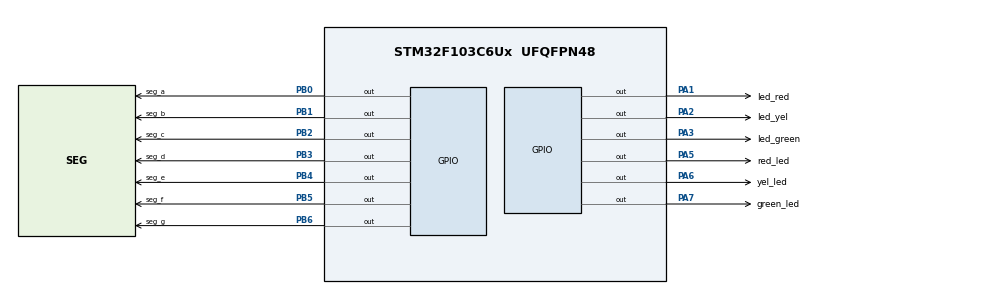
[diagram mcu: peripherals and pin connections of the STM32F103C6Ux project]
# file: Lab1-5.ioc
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Mcu.Family=STM32F1
Mcu.Name=STM32F103C6Ux
Mcu.Package=UFQFPN48
NVIC.PriorityGroup=NVIC_PRIORITYGROUP_4
PA1.GPIO_Label=led_red
PA1.Signal=GPIO_Output
PA2.GPIO_Label=led_yel
PA2.Signal=GPIO_Output
PA3.GPIO_Label=led_green
PA3.Signal=GPIO_Output
PA5.GPIO_Label=red_led
PA5.Signal=GPIO_Output
PA6.GPIO_Label=yel_led
PA6.Signal=GPIO_Output
PA7.GPIO_Label=green_led
PA7.Signal=GPIO_Output
PB0.GPIO_Label=seg_a
PB0.Signal=GPIO_Output
PB1.GPIO_Label=seg_b
PB1.Signal=GPIO_Output
PB2.GPIO_Label=seg_c
PB2.Signal=GPIO_Output
PB3.GPIO_Label=seg_d
PB3.Signal=GPIO_Output
PB4.GPIO_Label=seg_e
PB4.Signal=GPIO_Output
PB5.GPIO_Label=seg_f
PB5.Signal=GPIO_Output
PB6.GPIO_Label=seg_g
PB6.Signal=GPIO_Output
ProjectManager.HeapSize=0x200
ProjectManager.StackSize=0x400
ProjectManager.TargetToolchain=STM32CubeIDE
RCC.APB1Freq_Value=8000000
RCC.APB2Freq_Value=8000000
VP_SYS_VS_ND.Mode=No_Debug
board=custom

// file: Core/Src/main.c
/* USER CODE BEGIN Header */
/**
  ******************************************************************************
  * @file           : main.c
  * @brief          : Main program body
  ******************************************************************************
  * @attention
  *
  * <h2><center>&copy; Copyright (c) 2025 STMicroelectronics.
  * All rights reserved.</center></h2>
  *
  * This software component is licensed by ST under BSD 3-Clause license,
  * the "License"; You may not use this file except in compliance with the
  * License. You may obtain a copy of the License at:
  *                        opensource.org/licenses/BSD-3-Clause
  *
  ******************************************************************************
  */
/* USER CODE END Header */
#include "main.h"
#include "gpio.h"

/* USER CODE BEGIN PV */
int arr[10][7] = {
    {0, 0, 0, 0, 0, 0, 1}, //0
    {1, 0, 0, 1, 1, 1, 1}, //1
    {0, 0, 1, 0, 0, 1, 0}, //2
    {0, 0, 0, 0, 1, 1, 0}, //3
    {1, 0, 0, 1, 1, 0, 0}, //4
    {0, 1, 0, 0, 1, 0, 0}, //5
    {0, 1, 0, 0, 0, 0, 0}, //6
    {0, 0, 0, 1, 1, 1, 1}, //7
    {0, 0, 0, 0, 0, 0, 0}, //8
    {0, 0, 0, 0, 1, 0, 0}  //9
};
//	 a, b, c, d, e, f, g

int current_countdown = 0;
uint32_t last_update_time = 0;
/* USER CODE END PV */

void SystemClock_Config(void);
/* USER CODE BEGIN PFP */
void display7SEG(int num);
void updateCountdown(int duration);
/* USER CODE END PFP */

int main(void)
{

  /* MCU Configuration--------------------------------------------------------*/

  /* Reset of all peripherals, Initializes the Flash interface and the Systick. */
  HAL_Init();

  /* Configure the system clock */
  SystemClock_Config();

  /* Initialize all configured peripherals */
  MX_GPIO_Init();

  /* Infinite loop */
  /* USER CODE BEGIN WHILE */
  while (1)
  {
    /* Phase 1: Road2 Green (5s), Road1 Red (5s) */
    HAL_GPIO_WritePin(GPIOA, GPIO_PIN_5, GPIO_PIN_SET);   // RED2 ON
    HAL_GPIO_WritePin(GPIOA, GPIO_PIN_6, GPIO_PIN_RESET); // YELLOW2 OFF
    HAL_GPIO_WritePin(GPIOA, GPIO_PIN_7, GPIO_PIN_RESET); // GREEN2 OFF

    HAL_GPIO_WritePin(GPIOA, GPIO_PIN_1, GPIO_PIN_RESET); // RED1 OFF
    HAL_GPIO_WritePin(GPIOA, GPIO_PIN_2, GPIO_PIN_RESET); // YELLOW1 OFF
    HAL_GPIO_WritePin(GPIOA, GPIO_PIN_3, GPIO_PIN_SET);   // GREEN1 ON

    updateCountdown(5);
    HAL_Delay(5000);

    /* Phase 2: Both Yellow (2s) */
    HAL_GPIO_WritePin(GPIOA, GPIO_PIN_5, GPIO_PIN_RESET); // RED2 OFF
    HAL_GPIO_WritePin(GPIOA, GPIO_PIN_6, GPIO_PIN_SET);   // YELLOW2 ON
    HAL_GPIO_WritePin(GPIOA, GPIO_PIN_7, GPIO_PIN_RESET); // GREEN2 OFF

    HAL_GPIO_WritePin(GPIOA, GPIO_PIN_1, GPIO_PIN_RESET); // RED1 OFF
    HAL_GPIO_WritePin(GPIOA, GPIO_PIN_2, GPIO_PIN_SET);   // YELLOW1 ON
    HAL_GPIO_WritePin(GPIOA, GPIO_PIN_3, GPIO_PIN_RESET); // GREEN1 OFF

    updateCountdown(2);
    HAL_Delay(2000);

    /* Phase 3: Road2 Red (3s), Road1 Green (3s) */
    HAL_GPIO_WritePin(GPIOA, GPIO_PIN_5, GPIO_PIN_RESET); // RED2 OFF
    HAL_GPIO_WritePin(GPIOA, GPIO_PIN_6, GPIO_PIN_RESET); // YELLOW2 OFF
    HAL_GPIO_WritePin(GPIOA, GPIO_PIN_7, GPIO_PIN_SET);   // GREEN2 ON

    HAL_GPIO_WritePin(GPIOA, GPIO_PIN_1, GPIO_PIN_SET);   // RED1 ON
    HAL_GPIO_WritePin(GPIOA, GPIO_PIN_2, GPIO_PIN_RESET); // YELLOW1 OFF
    HAL_GPIO_WritePin(GPIOA, GPIO_PIN_3, GPIO_PIN_RESET); // GREEN1 OFF

    updateCountdown(3);
    HAL_Delay(3000);

    /* Phase 4: Both Yellow (2s) */
    HAL_GPIO_WritePin(GPIOA, GPIO_PIN_5, GPIO_PIN_RESET); // RED2 OFF
    HAL_GPIO_WritePin(GPIOA, GPIO_PIN_6, GPIO_PIN_SET);   // YELLOW2 ON
    HAL_GPIO_WritePin(GPIOA, GPIO_PIN_7, GPIO_PIN_RESET); // GREEN2 OFF

    HAL_GPIO_WritePin(GPIOA, GPIO_PIN_1, GPIO_PIN_RESET); // RED1 OFF
    HAL_GPIO_WritePin(GPIOA, GPIO_PIN_2, GPIO_PIN_SET);   // YELLOW1 ON
    HAL_GPIO_WritePin(GPIOA, GPIO_PIN_3, GPIO_PIN_RESET); // GREEN1 OFF

    updateCountdown(2);
    HAL_Delay(2000);
  }
}

/**
  * @brief Display a number (0-9) on the 7-segment display
  * @param num: Number to display (0-9)
  * @retval None
  */
void display7SEG(int num){
	if (num >= 0 && num <= 9){
		for (int state = 0; state < 7; state++){
			HAL_GPIO_WritePin(GPIOB, GPIO_PIN_0 << state, arr[num][state]);
		}
	}
	else HAL_GPIO_WritePin(GPIOB, GPIO_PIN_All, 0);
}

/**
  * @brief Update and display countdown for current phase
  * @param duration: Total duration of the phase in seconds
  * @retval None
  */
void updateCountdown(int duration)
{
  current_countdown = duration;
  last_update_time = HAL_GetTick();
  display7SEG(current_countdown);
}

void SystemClock_Config(void)
{
  RCC_OscInitTypeDef RCC_OscInitStruct = {0};
  RCC_ClkInitTypeDef RCC_ClkInitStruct = {0};

  /** Initializes the RCC Oscillators according to the specified parameters
  * in the RCC_OscInitTypeDef structure.
  */
  RCC_OscInitStruct.OscillatorType = RCC_OSCILLATORTYPE_HSI;
  RCC_OscInitStruct.HSIState = RCC_HSI_ON;
  RCC_OscInitStruct.HSICalibrationValue = RCC_HSICALIBRATION_DEFAULT;
  RCC_OscInitStruct.PLL.PLLState = RCC_PLL_NONE;
  if (HAL_RCC_OscConfig(&RCC_OscInitStruct) != HAL_OK)
  {
    Error_Handler();
  }
  /** Initializes the CPU, AHB and APB buses clocks
  */
  RCC_ClkInitStruct.ClockType = RCC_CLOCKTYPE_HCLK|RCC_CLOCKTYPE_SYSCLK
                              |RCC_CLOCKTYPE_PCLK1|RCC_CLOCKTYPE_PCLK2;
  RCC_ClkInitStruct.SYSCLKSource = RCC_SYSCLKSOURCE_HSI;
  RCC_ClkInitStruct.AHBCLKDivider = RCC_SYSCLK_DIV1;
  RCC_ClkInitStruct.APB1CLKDivider = RCC_HCLK_DIV1;
  RCC_ClkInitStruct.APB2CLKDivider = RCC_HCLK_DIV1;

  if (HAL_RCC_ClockConfig(&RCC_ClkInitStruct, FLASH_LATENCY_0) != HAL_OK)
  {
    Error_Handler();
  }
}

/* USER CODE BEGIN 4 */
// You can add a timer interrupt or additional logic here for real-time countdown
// if you want the display to update every second during the delay
/* USER CODE END 4 */

void Error_Handler(void)
{
  __disable_irq();
  while (1)
  {
  }
}

/************************ (C) COPYRIGHT STMicroelectronics *****END OF FILE****/
